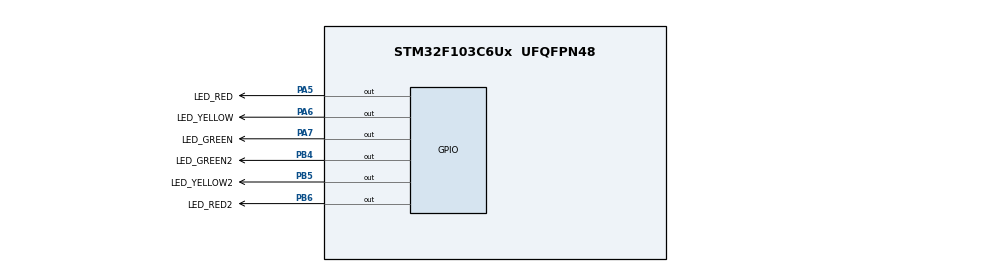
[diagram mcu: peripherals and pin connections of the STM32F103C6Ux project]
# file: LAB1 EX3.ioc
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Mcu.Family=STM32F1
Mcu.Name=STM32F103C6Ux
Mcu.Package=UFQFPN48
NVIC.PriorityGroup=NVIC_PRIORITYGROUP_4
PA5.GPIO_Label=LED_RED
PA5.Signal=GPIO_Output
PA6.GPIO_Label=LED_YELLOW
PA6.Signal=GPIO_Output
PA7.GPIO_Label=LED_GREEN
PA7.Signal=GPIO_Output
PB4.GPIO_Label=LED_GREEN2
PB4.Signal=GPIO_Output
PB5.GPIO_Label=LED_YELLOW2
PB5.Signal=GPIO_Output
PB6.GPIO_Label=LED_RED2
PB6.Signal=GPIO_Output
ProjectManager.HeapSize=0x200
ProjectManager.StackSize=0x400
ProjectManager.TargetToolchain=STM32CubeIDE
RCC.APB1Freq_Value=8000000
RCC.APB2Freq_Value=8000000
VP_SYS_VS_ND.Mode=No_Debug
board=custom

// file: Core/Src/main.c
/* USER CODE BEGIN Header */
/**
  ******************************************************************************
  * @file           : main.c
  * @brief          : Main program body
  ******************************************************************************
  * @attention
  *
  * <h2><center>&copy; Copyright (c) 2022 STMicroelectronics.
  * All rights reserved.</center></h2>
  *
  * This software component is licensed by ST under BSD 3-Clause license,
  * the "License"; You may not use this file except in compliance with the
  * License. You may obtain a copy of the License at:
  *                        opensource.org/licenses/BSD-3-Clause
  *
  ******************************************************************************
  */
/* USER CODE END Header */
#include "main.h"

void SystemClock_Config(void);
static void MX_GPIO_Init(void);

int main(void)
{

  /* MCU Configuration--------------------------------------------------------*/

  /* Reset of all peripherals, Initializes the Flash interface and the Systick. */
  HAL_Init();

  /* Configure the system clock */
  SystemClock_Config();

  /* Initialize all configured peripherals */
  MX_GPIO_Init();

  /* Infinite loop */
  /* USER CODE BEGIN WHILE */
  HAL_GPIO_WritePin(LED_RED_GPIO_Port, LED_RED_Pin, RESET);
  HAL_GPIO_WritePin(LED_YELLOW_GPIO_Port, LED_YELLOW_Pin, RESET);
  HAL_GPIO_WritePin(LED_GREEN_GPIO_Port, LED_GREEN_Pin, RESET);

  HAL_GPIO_WritePin(LED_RED2_GPIO_Port, LED_RED2_Pin, RESET);
  HAL_GPIO_WritePin(LED_YELLOW2_GPIO_Port, LED_YELLOW2_Pin, RESET);
  HAL_GPIO_WritePin(LED_GREEN2_GPIO_Port, LED_GREEN2_Pin, RESET);
  int counter = 4;
  while (1)
  {

//	  HAL_GPIO_WritePin(LED_RED2_GPIO_Port, LED_RED2_Pin, SET);
//	  HAL_GPIO_WritePin(LED_YELLOW_GPIO_Port, LED_YELLOW_Pin, 	RESET);

	  switch(counter){
	  //RED -> LEFT/ RIGHT
	  //RED2 -> UP/DOWN
	  case 3:
	//LED RED ON
	//LED GREEN2 ON
		  HAL_GPIO_WritePin(LED_RED_GPIO_Port, LED_RED_Pin, SET);
		  HAL_GPIO_WritePin(LED_YELLOW_GPIO_Port, LED_YELLOW_Pin, RESET);
		  HAL_GPIO_WritePin(LED_GREEN_GPIO_Port, LED_GREEN_Pin, RESET);

		  HAL_GPIO_WritePin(LED_RED2_GPIO_Port, LED_RED2_Pin, RESET);
		  HAL_GPIO_WritePin(LED_YELLOW2_GPIO_Port, LED_YELLOW2_Pin, RESET);
		  HAL_GPIO_WritePin(LED_GREEN2_GPIO_Port, LED_GREEN2_Pin, SET);
		  break;
	  case 2:
	//LED RED ON
	//LED YELLOW2 ON
		  HAL_GPIO_WritePin(LED_RED_GPIO_Port, LED_RED_Pin, SET);
		  HAL_GPIO_WritePin(LED_YELLOW_GPIO_Port, LED_YELLOW_Pin, RESET);
		  HAL_GPIO_WritePin(LED_GREEN_GPIO_Port, LED_GREEN_Pin, RESET);

		  HAL_GPIO_WritePin(LED_RED2_GPIO_Port, LED_RED2_Pin, RESET);
		  HAL_GPIO_WritePin(LED_YELLOW2_GPIO_Port, LED_YELLOW2_Pin, SET);
		  HAL_GPIO_WritePin(LED_GREEN2_GPIO_Port, LED_GREEN2_Pin, RESET);
		  break;
	  case 1:
	// LED  GREEN ON
	// LED RED2 ON
		  HAL_GPIO_WritePin(LED_RED_GPIO_Port, LED_RED_Pin, RESET);
		  HAL_GPIO_WritePin(LED_YELLOW_GPIO_Port, LED_YELLOW_Pin, RESET);
		  HAL_GPIO_WritePin(LED_GREEN_GPIO_Port, LED_GREEN_Pin, SET);

		  HAL_GPIO_WritePin(LED_RED2_GPIO_Port, LED_RED2_Pin, SET);
		  HAL_GPIO_WritePin(LED_YELLOW2_GPIO_Port, LED_YELLOW2_Pin, RESET);
		  HAL_GPIO_WritePin(LED_GREEN2_GPIO_Port, LED_GREEN2_Pin, RESET);
		  break;
	  case 0:
	//LED YELLOW ON
	// LED RED2 ON
		  HAL_GPIO_WritePin(LED_RED_GPIO_Port, LED_RED_Pin, RESET);
		  HAL_GPIO_WritePin(LED_YELLOW_GPIO_Port, LED_YELLOW_Pin, SET);
		  HAL_GPIO_WritePin(LED_GREEN_GPIO_Port, LED_GREEN_Pin, RESET);

		  HAL_GPIO_WritePin(LED_RED2_GPIO_Port, LED_RED2_Pin, SET);
		  HAL_GPIO_WritePin(LED_YELLOW2_GPIO_Port, LED_YELLOW2_Pin, RESET);
		  HAL_GPIO_WritePin(LED_GREEN2_GPIO_Port, LED_GREEN2_Pin, RESET);
		  counter = 4;
		  break;
	  default:
		  HAL_GPIO_WritePin(LED_RED_GPIO_Port, LED_RED_Pin, RESET);
		  HAL_GPIO_WritePin(LED_YELLOW_GPIO_Port, LED_YELLOW_Pin, RESET);
		  HAL_GPIO_WritePin(LED_GREEN_GPIO_Port, LED_GREEN_Pin, RESET);

		  HAL_GPIO_WritePin(LED_RED2_GPIO_Port, LED_RED2_Pin, RESET);
		  HAL_GPIO_WritePin(LED_YELLOW2_GPIO_Port, LED_YELLOW2_Pin, RESET);
		  HAL_GPIO_WritePin(LED_GREEN2_GPIO_Port, LED_GREEN2_Pin, RESET);
		  break;

	  }
	  counter--;

	  HAL_Delay(2000);
    /* USER CODE END WHILE */

  }
}

void SystemClock_Config(void)
{
  RCC_OscInitTypeDef RCC_OscInitStruct = {0};
  RCC_ClkInitTypeDef RCC_ClkInitStruct = {0};

  /** Initializes the RCC Oscillators according to the specified parameters
  * in the RCC_OscInitTypeDef structure.
  */
  RCC_OscInitStruct.OscillatorType = RCC_OSCILLATORTYPE_HSI;
  RCC_OscInitStruct.HSIState = RCC_HSI_ON;
  RCC_OscInitStruct.HSICalibrationValue = RCC_HSICALIBRATION_DEFAULT;
  RCC_OscInitStruct.PLL.PLLState = RCC_PLL_NONE;
  if (HAL_RCC_OscConfig(&RCC_OscInitStruct) != HAL_OK)
  {
    Error_Handler();
  }
  /** Initializes the CPU, AHB and APB buses clocks
  */
  RCC_ClkInitStruct.ClockType = RCC_CLOCKTYPE_HCLK|RCC_CLOCKTYPE_SYSCLK
                              |RCC_CLOCKTYPE_PCLK1|RCC_CLOCKTYPE_PCLK2;
  RCC_ClkInitStruct.SYSCLKSource = RCC_SYSCLKSOURCE_HSI;
  RCC_ClkInitStruct.AHBCLKDivider = RCC_SYSCLK_DIV1;
  RCC_ClkInitStruct.APB1CLKDivider = RCC_HCLK_DIV1;
  RCC_ClkInitStruct.APB2CLKDivider = RCC_HCLK_DIV1;

  if (HAL_RCC_ClockConfig(&RCC_ClkInitStruct, FLASH_LATENCY_0) != HAL_OK)
  {
    Error_Handler();
  }
}

static void MX_GPIO_Init(void)
{
  GPIO_InitTypeDef GPIO_InitStruct = {0};

  /* GPIO Ports Clock Enable */
  __HAL_RCC_GPIOA_CLK_ENABLE();
  __HAL_RCC_GPIOB_CLK_ENABLE();

  /*Configure GPIO pin Output Level */
  HAL_GPIO_WritePin(GPIOA, LED_RED_Pin|LED_YELLOW_Pin|LED_GREEN_Pin, GPIO_PIN_RESET);

  /*Configure GPIO pin Output Level */
  HAL_GPIO_WritePin(GPIOB, LED_GREEN2_Pin|LED_YELLOW2_Pin|LED_RED2_Pin, GPIO_PIN_RESET);

  /*Configure GPIO pins : LED_RED_Pin LED_YELLOW_Pin LED_GREEN_Pin */
  GPIO_InitStruct.Pin = LED_RED_Pin|LED_YELLOW_Pin|LED_GREEN_Pin;
  GPIO_InitStruct.Mode = GPIO_MODE_OUTPUT_PP;
  GPIO_InitStruct.Pull = GPIO_NOPULL;
  GPIO_InitStruct.Speed = GPIO_SPEED_FREQ_LOW;
  HAL_GPIO_Init(GPIOA, &GPIO_InitStruct);

  /*Configure GPIO pins : LED_GREEN2_Pin LED_YELLOW2_Pin LED_RED2_Pin */
  GPIO_InitStruct.Pin = LED_GREEN2_Pin|LED_YELLOW2_Pin|LED_RED2_Pin;
  GPIO_InitStruct.Mode = GPIO_MODE_OUTPUT_PP;
  GPIO_InitStruct.Pull = GPIO_NOPULL;
  GPIO_InitStruct.Speed = GPIO_SPEED_FREQ_LOW;
  HAL_GPIO_Init(GPIOB, &GPIO_InitStruct);

}

void Error_Handler(void)
{
  __disable_irq();
  while (1)
  {
  }
}

/************************ (C) COPYRIGHT STMicroelectronics *****END OF FILE****/
